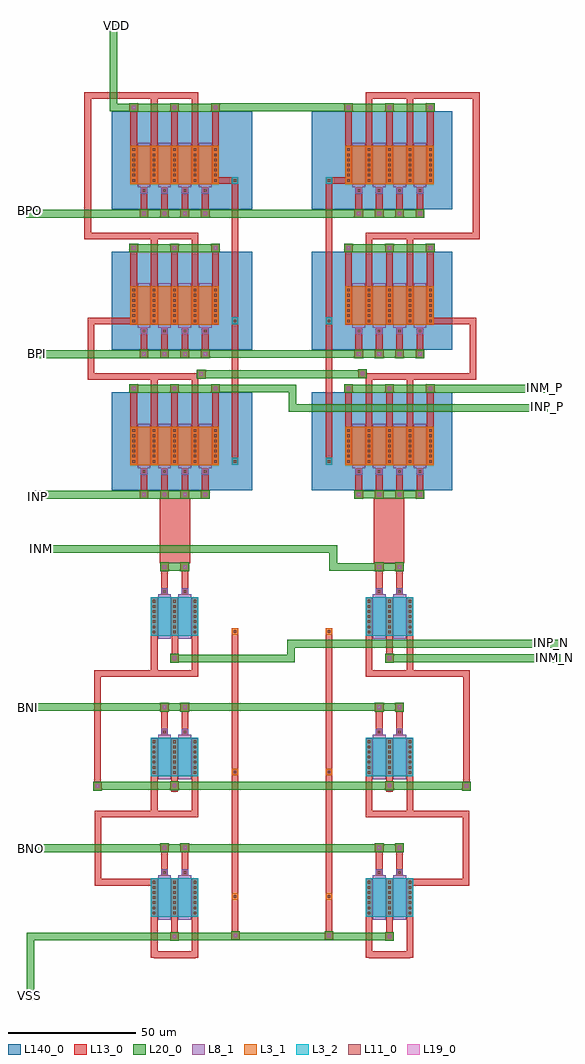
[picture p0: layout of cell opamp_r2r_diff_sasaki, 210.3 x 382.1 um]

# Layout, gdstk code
from math import pi, radians
import gdstk
lib = gdstk.Library(unit=1e-6, precision=1e-07)
def R(c, l, rs):  # rectangles x0, y0, x1, y1
    for r in rs: c.add(gdstk.rectangle(r[:2], r[2:], *l))
def A(c, l, x, y, w, h, nx, ny, dx, dy):  # array of equal rectangles
    R(c, l, [(x+i*dx, y+j*dy, x+i*dx+w, y+j*dy+h) for i in range(nx) for j in range(ny)])
L3_1 = (3, 1)
L3_2 = (3, 2)
L8_1 = (8, 1)
L11_0 = (11, 0)
L13_0 = (13, 0)
L19_0 = (19, 0)
L20_0 = (20, 0)
L140_0 = (140, 0)

via_1 = lib.new_cell('via_1')
R(via_1, L13_0, [(-1.7,-1.7,1.7,1.7)])
R(via_1, L19_0, [(-0.7,-0.7,0.7,0.7)])
R(via_1, L20_0, [(-1.7,-1.7,1.7,1.7)])

fet_p = lib.new_cell('fet_p')
R(fet_p, L3_1, [(-17.3,-7.5,17.3,7.5)])
A(fet_p, L11_0, -16.5, -6.5, 1, 1, 5, 7, 8, 2)
A(fet_p, L13_0, -17.3, -7.3, 2.6, 14.6, 5, 1, 8, 0)
fet_p.add(gdstk.FlexPath([(4,-8.7),(4,8.7)], 5, ends="flush", simple_path=True, layer=8, datatype=1))  # L8_1
fet_p.add(gdstk.FlexPath([(-4,-8.7),(-4,8.7)], 5, ends="flush", simple_path=True, layer=8, datatype=1))  # L8_1
fet_p.add(gdstk.FlexPath([(12,-8.7),(12,8.7)], 5, ends="flush", simple_path=True, layer=8, datatype=1))  # L8_1
fet_p.add(gdstk.FlexPath([(-12,-8.7),(-12,8.7)], 5, ends="flush", simple_path=True, layer=8, datatype=1))  # L8_1

cont_g = lib.new_cell('cont_g')
R(cont_g, L8_1, [(-1.3,-1.3,1.3,1.3)])
R(cont_g, L11_0, [(-0.5,-0.5,0.5,0.5)])
R(cont_g, L13_0, [(-1.3,-1.3,1.3,1.3)])

cont_n = lib.new_cell('cont_n')
R(cont_n, L3_2, [(-1.3,-1.3,1.3,1.3)])
R(cont_n, L11_0, [(-0.5,-0.5,0.5,0.5)])
R(cont_n, L13_0, [(-1.3,-1.3,1.3,1.3)])

fet_n = lib.new_cell('fet_n')
R(fet_n, L3_2, [(-9.3,-7.5,9.3,7.5)])
A(fet_n, L11_0, -8.5, -6.5, 1, 1, 3, 7, 8, 2)
A(fet_n, L13_0, -9.3, -7.3, 2.6, 14.6, 3, 1, 8, 0)
fet_n.add(gdstk.FlexPath([(4,-8.7),(4,8.7)], 5, ends="flush", simple_path=True, layer=8, datatype=1))  # L8_1
fet_n.add(gdstk.FlexPath([(-4,-8.7),(-4,8.7)], 5, ends="flush", simple_path=True, layer=8, datatype=1))  # L8_1

cont_p = lib.new_cell('cont_p')
R(cont_p, L3_1, [(-1.3,-1.3,1.3,1.3)])
R(cont_p, L11_0, [(-0.5,-0.5,0.5,0.5)])
R(cont_p, L13_0, [(-1.3,-1.3,1.3,1.3)])

left = lib.new_cell('left')
A(left, L140_0, 10.7, 183.1, 55, 38.5, 1, 3, 0, 55)
left.add(gdstk.FlexPath([(28.2,282.7),(42.5,282.7)], 2.6, ends="flush", simple_path=True, layer=13, datatype=0))  # L13_0
left.add(gdstk.FlexPath([(28.2,337.7),(42.5,337.7)], 2.6, ends="flush", simple_path=True, layer=13, datatype=0))  # L13_0
left.add(gdstk.FlexPath([(43.3,262.8),(43.3,284)], 2.6, ends="flush", simple_path=True, layer=13, datatype=0))  # L13_0
left.add(gdstk.FlexPath([(43.3,317.8),(43.3,339)], 2.6, ends="flush", simple_path=True, layer=13, datatype=0))  # L13_0
left.add(gdstk.FlexPath([(27.3,262.8),(27.3,284)], 2.6, ends="flush", simple_path=True, layer=13, datatype=0))  # L13_0
left.add(gdstk.FlexPath([(27.3,317.8),(27.3,339)], 2.6, ends="flush", simple_path=True, layer=13, datatype=0))  # L13_0
left.add(gdstk.FlexPath([(51.3,262.7),(51.3,276.4)], 2.6, ends="flush", simple_path=True, layer=13, datatype=0))  # L13_0
left.add(gdstk.FlexPath([(51.3,317.7),(51.3,331.4)], 2.6, ends="flush", simple_path=True, layer=13, datatype=0))  # L13_0
left.add(gdstk.FlexPath([(35.3,262.7),(35.3,276.4)], 2.6, ends="flush", simple_path=True, layer=13, datatype=0))  # L13_0
left.add(gdstk.FlexPath([(35.3,317.7),(35.3,331.4)], 2.6, ends="flush", simple_path=True, layer=13, datatype=0))  # L13_0
left.add(gdstk.FlexPath([(19.3,262.7),(19.3,276.4)], 2.6, ends="flush", simple_path=True, layer=13, datatype=0))  # L13_0
left.add(gdstk.FlexPath([(19.3,317.7),(19.3,331.4)], 2.6, ends="flush", simple_path=True, layer=13, datatype=0))  # L13_0
left.add(gdstk.FlexPath([(23.3,244.3),(23.3,238.1)], 2.6, ends="flush", simple_path=True, layer=13, datatype=0))  # L13_0
left.add(gdstk.FlexPath([(23.3,299.3),(23.3,293.1)], 2.6, ends="flush", simple_path=True, layer=13, datatype=0))  # L13_0
left.add(gdstk.FlexPath([(31.3,244.3),(31.3,238.1)], 2.6, ends="flush", simple_path=True, layer=13, datatype=0))  # L13_0
left.add(gdstk.FlexPath([(31.3,299.3),(31.3,293.1)], 2.6, ends="flush", simple_path=True, layer=13, datatype=0))  # L13_0
left.add(gdstk.FlexPath([(39.3,244.3),(39.3,238.1)], 2.6, ends="flush", simple_path=True, layer=13, datatype=0))  # L13_0
left.add(gdstk.FlexPath([(39.3,299.3),(39.3,293.1)], 2.6, ends="flush", simple_path=True, layer=13, datatype=0))  # L13_0
left.add(gdstk.FlexPath([(47.3,244.3),(47.3,238.1)], 2.6, ends="flush", simple_path=True, layer=13, datatype=0))  # L13_0
left.add(gdstk.FlexPath([(47.3,299.3),(47.3,293.1)], 2.6, ends="flush", simple_path=True, layer=13, datatype=0))  # L13_0
left.add(gdstk.FlexPath([(27.3,337.7),(1.3,337.7),(1.3,282.7),(27.3,282.7)], 2.6, ends="flush", simple_path=True, layer=13, datatype=0))  # L13_0
left.add(gdstk.FlexPath([(52.6,304.5),(58.9,304.5)], 2.6, ends="flush", simple_path=True, layer=13, datatype=0))  # L13_0
left.add(gdstk.FlexPath([(58.9,303.2),(58.9,250.7)], 2.6, ends="flush", simple_path=True, layer=13, datatype=0))  # L13_0
left.add(gdstk.FlexPath([(58.9,248.2),(58.9,195.7)], 2.6, ends="flush", simple_path=True, layer=13, datatype=0))  # L13_0
left.add(gdstk.FlexPath([(18.3,249.4),(2.6,249.4),(2.6,227.7),(26.4,227.7),(26.4,227.7)], 2.6, ends="flush", simple_path=True, layer=13, datatype=0))  # L13_0
left.add(gdstk.FlexPath([(35.5,180),(35.5,154.6)], 12, ends="flush", simple_path=True, layer=13, datatype=0))  # L13_0
left.add(gdstk.FlexPath([(31.3,151.7),(31.3,144.5)], 2.6, ends="flush", simple_path=True, layer=13, datatype=0))  # L13_0
left.add(gdstk.FlexPath([(39.3,144.6),(39.3,151.7)], 2.6, ends="flush", simple_path=True, layer=13, datatype=0))  # L13_0
left.add(gdstk.FlexPath([(27.3,126.6),(27.3,110.2)], 2.6, ends="flush", simple_path=True, layer=13, datatype=0))  # L13_0
left.add(gdstk.FlexPath([(43.3,126.6),(43.3,110.2)], 2.6, ends="flush", simple_path=True, layer=13, datatype=0))  # L13_0
left.add(gdstk.FlexPath([(35.3,71.6),(35.3,65.1)], 2.6, ends="flush", simple_path=True, layer=13, datatype=0))  # L13_0
left.add(gdstk.FlexPath([(35.3,16.6),(35.3,10.1)], 2.6, ends="flush", simple_path=True, layer=13, datatype=0))  # L13_0
left.add(gdstk.FlexPath([(31.3,96.7),(31.3,89.5)], 2.6, ends="flush", simple_path=True, layer=13, datatype=0))  # L13_0
left.add(gdstk.FlexPath([(31.3,41.7),(31.3,34.5)], 2.6, ends="flush", simple_path=True, layer=13, datatype=0))  # L13_0
left.add(gdstk.FlexPath([(39.3,89.6),(39.3,96.7)], 2.6, ends="flush", simple_path=True, layer=13, datatype=0))  # L13_0
left.add(gdstk.FlexPath([(39.3,34.6),(39.3,41.7)], 2.6, ends="flush", simple_path=True, layer=13, datatype=0))  # L13_0
left.add(gdstk.FlexPath([(27.3,71.6),(27.3,55.2)], 2.6, ends="flush", simple_path=True, layer=13, datatype=0))  # L13_0
left.add(gdstk.FlexPath([(27.3,16.6),(27.3,0.2)], 2.6, ends="flush", simple_path=True, layer=13, datatype=0))  # L13_0
left.add(gdstk.FlexPath([(43.3,71.6),(43.3,55.2)], 2.6, ends="flush", simple_path=True, layer=13, datatype=0))  # L13_0
left.add(gdstk.FlexPath([(43.3,16.6),(43.3,0.2)], 2.6, ends="flush", simple_path=True, layer=13, datatype=0))  # L13_0
left.add(gdstk.FlexPath([(43.3,111.4),(5.1,111.4),(5.1,68.7),(5.1,68.7)], 2.6, ends="flush", simple_path=True, layer=13, datatype=0))  # L13_0
left.add(gdstk.FlexPath([(43.4,56.4),(5.3,56.4),(5.3,29.7),(26.6,29.7),(26.6,29.7)], 2.6, ends="flush", simple_path=True, layer=13, datatype=0))  # L13_0
left.add(gdstk.FlexPath([(27.3,1.3),(43.3,1.3)], 2.6, ends="flush", simple_path=True, layer=13, datatype=0))  # L13_0
left.add(gdstk.FlexPath([(58.9,126.8),(58.9,74)], 2.6, ends="flush", simple_path=True, layer=13, datatype=0))  # L13_0
left.add(gdstk.FlexPath([(28.2,227.7),(42.5,227.7)], 2.6, ends="flush", simple_path=True, layer=13, datatype=0))  # L13_0
left.add(gdstk.FlexPath([(43.3,207.8),(43.3,229)], 2.6, ends="flush", simple_path=True, layer=13, datatype=0))  # L13_0
left.add(gdstk.FlexPath([(27.3,207.8),(27.3,229)], 2.6, ends="flush", simple_path=True, layer=13, datatype=0))  # L13_0
left.add(gdstk.FlexPath([(51.3,207.7),(51.3,221.4)], 2.6, ends="flush", simple_path=True, layer=13, datatype=0))  # L13_0
left.add(gdstk.FlexPath([(35.3,207.7),(35.3,221.4)], 2.6, ends="flush", simple_path=True, layer=13, datatype=0))  # L13_0
left.add(gdstk.FlexPath([(19.3,207.7),(19.3,221.4)], 2.6, ends="flush", simple_path=True, layer=13, datatype=0))  # L13_0
left.add(gdstk.FlexPath([(23.3,189.3),(23.3,183.1)], 2.6, ends="flush", simple_path=True, layer=13, datatype=0))  # L13_0
left.add(gdstk.FlexPath([(31.3,189.3),(31.3,183.1)], 2.6, ends="flush", simple_path=True, layer=13, datatype=0))  # L13_0
left.add(gdstk.FlexPath([(39.3,189.3),(39.3,183.1)], 2.6, ends="flush", simple_path=True, layer=13, datatype=0))  # L13_0
left.add(gdstk.FlexPath([(47.3,189.3),(47.3,183.1)], 2.6, ends="flush", simple_path=True, layer=13, datatype=0))  # L13_0
left.add(gdstk.FlexPath([(59,71.8),(59,9.9)], 2.6, ends="flush", simple_path=True, layer=13, datatype=0))  # L13_0
left.add(gdstk.FlexPath([(20.9,222.9),(33.7,222.9)], 3, ends="flush", simple_path=True, layer=20, datatype=0))  # L20_0
left.add(gdstk.FlexPath([(36.9,222.9),(49.7,222.9)], 3, ends="flush", simple_path=True, layer=20, datatype=0))  # L20_0
left.add(gdstk.FlexPath([(20.9,277.9),(33.7,277.9)], 3, ends="flush", simple_path=True, layer=20, datatype=0))  # L20_0
left.add(gdstk.FlexPath([(20.9,332.9),(33.7,332.9)], 3, ends="flush", simple_path=True, layer=20, datatype=0))  # L20_0
left.add(gdstk.FlexPath([(36.9,277.9),(49.7,277.9)], 3, ends="flush", simple_path=True, layer=20, datatype=0))  # L20_0
left.add(gdstk.FlexPath([(36.9,332.9),(49.7,332.9)], 3, ends="flush", simple_path=True, layer=20, datatype=0))  # L20_0
left.add(gdstk.Reference(via_1, (51.3,223)))
left.add(gdstk.Reference(via_1, (35.3,223)))
left.add(gdstk.Reference(via_1, (19.3,223)))
left.add(gdstk.Reference(fet_p, (35.3,200.5)))
left.add(gdstk.Reference(via_1, (23.3,181.5)))
left.add(gdstk.Reference(cont_g, (23.3,190.5)))
left.add(gdstk.Reference(via_1, (31.3,181.5)))
left.add(gdstk.Reference(via_1, (39.3,181.5)))
left.add(gdstk.Reference(via_1, (47.3,181.5)))
left.add(gdstk.Reference(cont_g, (31.3,190.5)))
left.add(gdstk.Reference(cont_g, (39.3,190.5)))
left.add(gdstk.Reference(cont_g, (47.3,190.5)))
left.add(gdstk.Reference(via_1, (51.3,278)))
left.add(gdstk.Reference(via_1, (51.3,333)))
left.add(gdstk.Reference(via_1, (35.3,278)))
left.add(gdstk.Reference(via_1, (35.3,333)))
left.add(gdstk.Reference(via_1, (19.3,278)))
left.add(gdstk.Reference(via_1, (19.3,333)))
left.add(gdstk.Reference(fet_p, (35.3,255.5)))
left.add(gdstk.Reference(fet_p, (35.3,310.5)))
left.add(gdstk.Reference(via_1, (23.3,236.5)))
left.add(gdstk.Reference(via_1, (23.3,291.5)))
left.add(gdstk.Reference(cont_g, (23.3,245.5)))
left.add(gdstk.Reference(cont_g, (23.3,300.5)))
left.add(gdstk.Reference(via_1, (31.3,236.5)))
left.add(gdstk.Reference(via_1, (31.3,291.5)))
left.add(gdstk.Reference(via_1, (39.3,236.5)))
left.add(gdstk.Reference(via_1, (39.3,291.5)))
left.add(gdstk.Reference(via_1, (47.3,236.5)))
left.add(gdstk.Reference(via_1, (47.3,291.5)))
left.add(gdstk.Reference(cont_g, (31.3,245.5)))
left.add(gdstk.Reference(cont_g, (31.3,300.5)))
left.add(gdstk.Reference(cont_g, (39.3,245.5)))
left.add(gdstk.Reference(cont_g, (39.3,300.5)))
left.add(gdstk.Reference(cont_g, (47.3,245.5)))
left.add(gdstk.Reference(cont_g, (47.3,300.5)))
left.add(gdstk.Reference(cont_n, (58.9,304.5)))
left.add(gdstk.Reference(cont_n, (58.9,249.5)))
left.add(gdstk.Reference(cont_n, (58.9,194.5)))
left.add(gdstk.Reference(fet_n, (35.3,133.7)))
left.add(gdstk.Reference(via_1, (31.3,153.2)))
left.add(gdstk.Reference(via_1, (39.3,153.2)))
left.add(gdstk.Reference(cont_g, (31.3,143.5)))
left.add(gdstk.Reference(cont_g, (39.3,143.5)))
left.add(gdstk.Reference(cont_p, (58.9,127.9)))
left.add(gdstk.Reference(fet_n, (35.3,78.7)))
left.add(gdstk.Reference(fet_n, (35.3,23.7)))
left.add(gdstk.Reference(via_1, (31.3,98.2)))
left.add(gdstk.Reference(via_1, (31.3,43.2)))
left.add(gdstk.Reference(via_1, (39.3,98.2)))
left.add(gdstk.Reference(via_1, (39.3,43.2)))
left.add(gdstk.Reference(via_1, (35.3,67.5)))
left.add(gdstk.Reference(via_1, (35.3,8.5)))
left.add(gdstk.Reference(cont_g, (31.3,88.5)))
left.add(gdstk.Reference(cont_g, (31.3,33.5)))
left.add(gdstk.Reference(cont_g, (39.3,88.5)))
left.add(gdstk.Reference(cont_g, (39.3,33.5)))
left.add(gdstk.Reference(cont_p, (58.9,72.9)))
left.add(gdstk.Reference(cont_p, (58.9,24.1)))
left.add(gdstk.Reference(via_1, (5.1,67.3)))
left.add(gdstk.Reference(via_1, (35.3,117.4)))

opamp_r2r_diff_sasaki = lib.new_cell('opamp_r2r_diff_sasaki')
opamp_r2r_diff_sasaki.add(gdstk.FlexPath([(83.8,-73.9),(83.8,-81.7),(83.8,-81.7)], 2.6, ends="flush", simple_path=True, layer=13, datatype=0))  # L13_0
opamp_r2r_diff_sasaki.add(gdstk.FlexPath([(-0.2,-73.8),(-0.2,-81.7)], 2.6, ends="flush", simple_path=True, layer=13, datatype=0))  # L13_0
opamp_r2r_diff_sasaki.add(gdstk.FlexPath([(11.6,28.2),(72,28.2)], 3, ends="flush", simple_path=True, layer=20, datatype=0))  # L20_0
opamp_r2r_diff_sasaki.add(gdstk.FlexPath([(17.2,132.7),(66.5,132.7),(66.5,132.7)], 3, ends="flush", simple_path=True, layer=20, datatype=0))  # L20_0
opamp_r2r_diff_sasaki.add(gdstk.FlexPath([(-24.2,165.3),(-24.2,132.6),(-17.6,132.6),(-17.6,132.6)], 3, ends="flush", simple_path=True, layer=20, datatype=0))  # L20_0
opamp_r2r_diff_sasaki.add(gdstk.FlexPath([(94.2,91),(73.1,91)], 3, ends="flush", simple_path=True, layer=20, datatype=0))  # L20_0
opamp_r2r_diff_sasaki.add(gdstk.FlexPath([(70.4,91),(13.1,91),(13.1,91)], 3, ends="flush", simple_path=True, layer=20, datatype=0))  # L20_0
opamp_r2r_diff_sasaki.add(gdstk.FlexPath([(-10.8,91),(10.2,91)], 3, ends="flush", simple_path=True, layer=20, datatype=0))  # L20_0
opamp_r2r_diff_sasaki.add(gdstk.FlexPath([(-13.9,91),(-58.4,91)], 3, ends="flush", simple_path=True, layer=20, datatype=0))  # L20_0
opamp_r2r_diff_sasaki.add(gdstk.FlexPath([(70.3,36.1),(13.4,36.1)], 3, ends="flush", simple_path=True, layer=20, datatype=0))  # L20_0
opamp_r2r_diff_sasaki.add(gdstk.FlexPath([(17.1,22.6),(45.8,22.6),(45.8,15),(145.8,15),(145.8,15)], 3, ends="flush", simple_path=True, layer=20, datatype=0))  # L20_0
opamp_r2r_diff_sasaki.add(gdstk.FlexPath([(101.3,22.5),(146.2,22.5)], 3, ends="flush", simple_path=True, layer=20, datatype=0))  # L20_0
opamp_r2r_diff_sasaki.add(gdstk.FlexPath([(73.3,-18.9),(94.2,-18.9),(94.2,-18.9)], 3, ends="flush", simple_path=True, layer=20, datatype=0))  # L20_0
opamp_r2r_diff_sasaki.add(gdstk.FlexPath([(10.3,-19),(-55.6,-19)], 3, ends="flush", simple_path=True, layer=20, datatype=0))  # L20_0
opamp_r2r_diff_sasaki.add(gdstk.FlexPath([(73.3,36.2),(94.6,36.2)], 3, ends="flush", simple_path=True, layer=20, datatype=0))  # L20_0
opamp_r2r_diff_sasaki.add(gdstk.FlexPath([(-10.8,36),(10.5,36)], 3, ends="flush", simple_path=True, layer=20, datatype=0))  # L20_0
opamp_r2r_diff_sasaki.add(gdstk.FlexPath([(-14,36),(-56.4,36)], 3, ends="flush", simple_path=True, layer=20, datatype=0))  # L20_0
opamp_r2r_diff_sasaki.add(gdstk.FlexPath([(86.5,-47.3),(61.8,-47.3),(61.8,-40.2),(-54.9,-40.2)], 3, ends="flush", simple_path=True, layer=20, datatype=0))  # L20_0
opamp_r2r_diff_sasaki.add(gdstk.FlexPath([(-2.9,-47.2),(2.2,-47.2)], 3, ends="flush", simple_path=True, layer=20, datatype=0))  # L20_0
opamp_r2r_diff_sasaki.add(gdstk.FlexPath([(1.1,-83.1),(45.3,-83.1),(45.3,-77.3),(151,-77.3),(151,-77.3)], 3, ends="flush", simple_path=True, layer=20, datatype=0))  # L20_0
opamp_r2r_diff_sasaki.add(gdstk.FlexPath([(85.3,-83),(150.7,-83)], 3, ends="flush", simple_path=True, layer=20, datatype=0))  # L20_0
opamp_r2r_diff_sasaki.add(gdstk.FlexPath([(86.5,-102.1),(-59.3,-102.1)], 3, ends="flush", simple_path=True, layer=20, datatype=0))  # L20_0
opamp_r2r_diff_sasaki.add(gdstk.FlexPath([(-29.3,-132.9),(112.6,-132.9),(112.6,-132.9)], 3, ends="flush", simple_path=True, layer=20, datatype=0))  # L20_0
opamp_r2r_diff_sasaki.add(gdstk.FlexPath([(86.4,-157.4),(-58.9,-157.4)], 3, ends="flush", simple_path=True, layer=20, datatype=0))  # L20_0
opamp_r2r_diff_sasaki.add(gdstk.FlexPath([(82.2,-192),(-56.7,-192),(-56.7,-216.8),(-56.7,-216.8)], 3, ends="flush", simple_path=True, layer=20, datatype=0))  # L20_0
opamp_r2r_diff_sasaki.add(gdstk.Reference(left, (119.1,-200.4), rotation=pi, x_reflection=True))
opamp_r2r_diff_sasaki.add(gdstk.Reference(via_1, (10.1,28.2)))
opamp_r2r_diff_sasaki.add(gdstk.Reference(via_1, (73.3,28.4)))
opamp_r2r_diff_sasaki.add(gdstk.Reference(left, (-35.6,-200.4)))
opamp_r2r_diff_sasaki.add(gdstk.Reference(via_1, (23.5,-191.6)))
opamp_r2r_diff_sasaki.add(gdstk.Reference(via_1, (60.1,-191.6)))
opamp_r2r_diff_sasaki.add(gdstk.Label('VDD', (-23,164.8), layer=49, texttype=0))
opamp_r2r_diff_sasaki.add(gdstk.Label('BPO', (-57.1,92.2), layer=49, texttype=0))
opamp_r2r_diff_sasaki.add(gdstk.Label('BPI', (-54.1,36.4), layer=49, texttype=0))
opamp_r2r_diff_sasaki.add(gdstk.Label('INP', (-54.1,-19.6), layer=49, texttype=0))
opamp_r2r_diff_sasaki.add(gdstk.Label('INM', (-52.6,-40.1), layer=49, texttype=0))
opamp_r2r_diff_sasaki.add(gdstk.Label('BNI', (-57.4,-102.2), layer=49, texttype=0))
opamp_r2r_diff_sasaki.add(gdstk.Label('BNO', (-56.6,-157.6), layer=49, texttype=0))
opamp_r2r_diff_sasaki.add(gdstk.Label('VSS', (-57,-215.1), layer=49, texttype=0))
opamp_r2r_diff_sasaki.add(gdstk.Label('INP_N', (147.3,-76.8), layer=49, texttype=0))
opamp_r2r_diff_sasaki.add(gdstk.Label('INM_N', (148.5,-82.6), layer=49, texttype=0))
opamp_r2r_diff_sasaki.add(gdstk.Label('INM_P', (144.5,22.9), layer=49, texttype=0))
opamp_r2r_diff_sasaki.add(gdstk.Label('INP_P', (145.5,15.5), layer=49, texttype=0))

lib.write_gds('opamp_r2r_diff_sasaki.gds')
